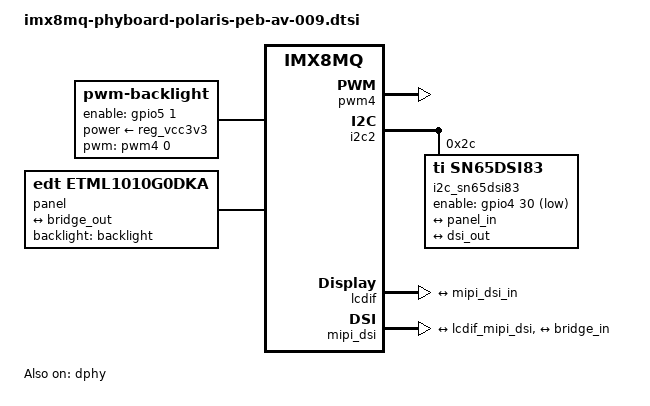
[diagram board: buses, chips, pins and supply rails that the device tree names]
// SPDX-License-Identifier: GPL-2.0
/*
 * Copyright (C) 2018 PHYTEC Messtechnik GmbH
 * Author: Janine Hagemann <j.hagemann@phytec.de>
 */

/ {

	backlight: backlight {
		compatible = "pwm-backlight";
		pinctrl-names = "default";
		pinctrl-0 = <&pinctrl_lcd>;
		default-brightness-level = <6>;
		power-supply = <&reg_vcc3v3>;
		pwms = <&pwm4 0 50000>;
		enable-gpios = <&gpio5 1 GPIO_ACTIVE_HIGH>;
		brightness-levels= <0 4 8 16 32 64 128 255>;
		status = "okay";
	};

	panel: panel {
		compatible = "edt,etml1010g0dka";
		backlight = <&backlight>;

		port {
			panel_in: endpoint {
				remote-endpoint = <&bridge_out>;
			};
		};
	};

};

&pwm4 {
	status = "okay";
	pinctrl-names = "default";
	pinctrl-0 = <&pinctrl_pwm4>;
};

&i2c2 {
	i2c_sn65dsi83: sn65dsi83@2c {
		compatible = "ti,sn65dsi83";
		pinctrl-names = "default";
		pinctrl-0 = <&pinctrl_i2c2_sn65dsi83>;
		enable-gpios = <&gpio4 30 GPIO_ACTIVE_LOW>;
		reg = <0x2c>;
		lanes_in = <4>;
		lvds_vod_swing = <0x3>;
		status = "okay";

		ports {
			#address-cells = <1>;
			#size-cells = <0>;

			port@0 {
				reg = <0>;

				bridge_out: endpoint {
					remote-endpoint = <&panel_in>;
				};
			};

			port@1 {
				reg = <1>;

				bridge_in: endpoint {
					remote-endpoint = <&dsi_out>;
				};
			};
		};
	};
};

&lcdif {
	status = "okay";
	max-memory-bandwidth = <497829888>; /* 1920x1080-32@60.02 */

	assigned-clocks = <&clk IMX8MQ_CLK_LCDIF_PIXEL>,
			  <&clk IMX8MQ_VIDEO_PLL1_BYPASS>,
			  <&clk IMX8MQ_VIDEO_PLL1_REF_SEL>,
			  <&clk IMX8MQ_VIDEO_PLL1>;
	assigned-clock-parents = <&clk IMX8MQ_VIDEO_PLL1_OUT>,
				 <&clk IMX8MQ_VIDEO_PLL1>,
				 <&clk IMX8MQ_CLK_27M>;
	assigned-clock-rate = <126000000>, <0>, <0>, <1134000000>;

	ports {
		#address-cells = <1>;
		#size-cells = <0>;

		port@0 {
			lcdif_mipi_dsi: endpoint {
				remote-endpoint = <&mipi_dsi_in>;
			};
		};
	};
};

&dphy {
	status = "okay";
};

&mipi_dsi {
	status = "okay";
	as_bridge;
	sync-pol = <1>;
	pwr-delay = <10>;

	ports {
		#address-cells = <1>;
		#size-cells = <0>;

		port@0 {
			reg = <0>;

			mipi_dsi_in: endpoint {
				remote-endpoint = <&lcdif_mipi_dsi>;
			};
		};

		port@1 {
			reg = <1>;

			dsi_out: endpoint {
				remote-endpoint = <&bridge_in>;
			};
		};
	};
};

&iomuxc {
	pinctrl-names = "default";

	pinctrl_i2c2_sn65dsi83: sn65dsi83_i2c2_grp {
		fsl,pins = <
			MX8MQ_IOMUXC_SAI3_RXD_GPIO4_IO30		0x16
		>;
	};

	pinctrl_pwm4: pwm4grp {
		fsl,pins = <
			MX8MQ_IOMUXC_SAI3_MCLK_PWM4_OUT			0x16
		>;
	};

	pinctrl_lcd: lcd0grp {
		fsl,pins = <
			MX8MQ_IOMUXC_SAI3_TXD_GPIO5_IO1                 0x16
		>;
	};
};
